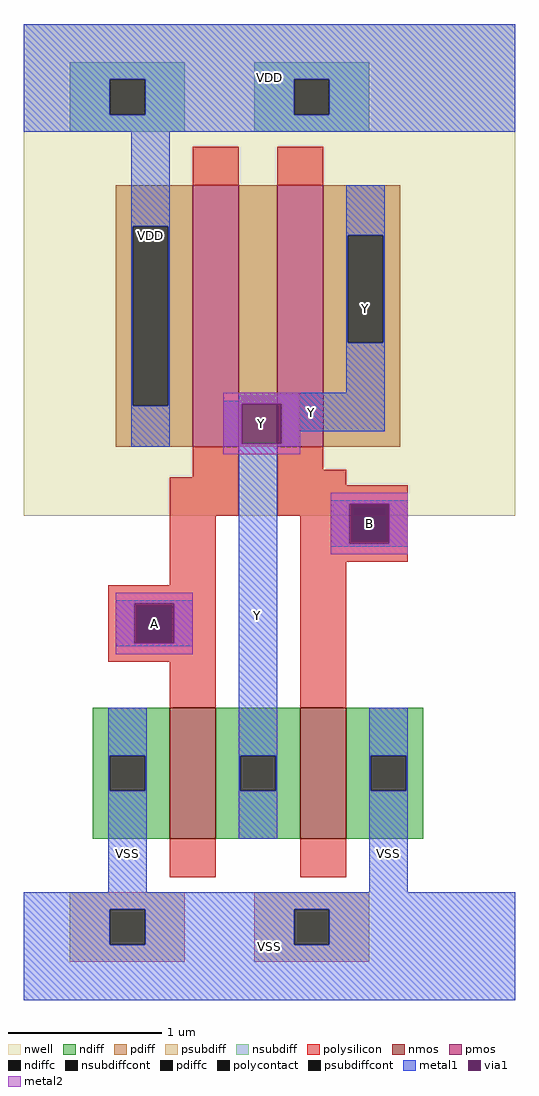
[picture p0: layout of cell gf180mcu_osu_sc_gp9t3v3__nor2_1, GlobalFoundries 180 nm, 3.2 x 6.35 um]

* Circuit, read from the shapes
.subckt gf180mcu_osu_sc_gp9t3v3__nor2_1 A B Y VDD VSS
XM1 Y A VSS VSS nfet_03v3 w=0.85u l=0.3u
XM2 VSS B Y VSS nfet_03v3 w=0.85u l=0.3u
XM3 n1 A VDD VDD pfet_03v3 w=1.7u l=0.3u
XM4 Y B n1 VDD pfet_03v3 w=1.7u l=0.3u
.ends

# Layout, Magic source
magic
tech gf180mcuA
magscale 1 10
<< nwell >>
rect 0 630 640 1270
<< nmos >>
rect 190 210 250 380
rect 360 210 420 380
<< pmos >>
rect 220 720 280 1060
rect 330 720 390 1060
<< ndiff >>
rect 90 318 190 380
rect 90 272 112 318
rect 158 272 190 318
rect 90 210 190 272
rect 250 318 360 380
rect 250 272 282 318
rect 328 272 360 318
rect 250 210 360 272
rect 420 318 520 380
rect 420 272 452 318
rect 498 272 520 318
rect 420 210 520 272
<< pdiff >>
rect 120 1007 220 1060
rect 120 773 142 1007
rect 188 773 220 1007
rect 120 720 220 773
rect 280 720 330 1060
rect 390 995 490 1060
rect 390 855 422 995
rect 468 855 490 995
rect 390 720 490 855
<< ndiffc >>
rect 112 272 158 318
rect 282 272 328 318
rect 452 272 498 318
<< pdiffc >>
rect 142 773 188 1007
rect 422 855 468 995
<< psubdiff >>
rect 60 118 210 140
rect 60 72 112 118
rect 158 72 210 118
rect 60 50 210 72
rect 300 118 450 140
rect 300 72 352 118
rect 398 72 450 118
rect 300 50 450 72
<< nsubdiff >>
rect 60 1198 210 1220
rect 60 1152 112 1198
rect 158 1152 210 1198
rect 60 1130 210 1152
rect 300 1198 450 1220
rect 300 1152 352 1198
rect 398 1152 450 1198
rect 300 1130 450 1152
<< psubdiffcont >>
rect 112 72 158 118
rect 352 72 398 118
<< nsubdiffcont >>
rect 112 1152 158 1198
rect 352 1152 398 1198
<< polysilicon >>
rect 220 1060 280 1110
rect 330 1060 390 1110
rect 220 680 280 720
rect 190 630 280 680
rect 330 690 390 720
rect 330 670 420 690
rect 330 643 500 670
rect 330 630 427 643
rect 190 540 250 630
rect 110 513 250 540
rect 110 467 147 513
rect 193 467 250 513
rect 110 440 250 467
rect 190 380 250 440
rect 360 597 427 630
rect 473 597 500 643
rect 360 570 500 597
rect 360 380 420 570
rect 190 160 250 210
rect 360 160 420 210
<< polycontact >>
rect 147 467 193 513
rect 427 597 473 643
<< metal1 >>
rect 0 1198 640 1270
rect 0 1152 112 1198
rect 158 1152 352 1198
rect 398 1152 640 1198
rect 0 1130 640 1152
rect 140 1007 190 1130
rect 140 773 142 1007
rect 188 773 190 1007
rect 420 995 470 1060
rect 420 855 422 995
rect 468 855 470 995
rect 420 790 470 855
rect 280 780 470 790
rect 140 720 190 773
rect 260 776 470 780
rect 260 724 284 776
rect 336 740 470 776
rect 336 724 360 740
rect 260 720 360 724
rect 120 516 220 520
rect 120 464 144 516
rect 196 464 220 516
rect 120 460 220 464
rect 110 318 160 380
rect 110 272 112 318
rect 158 272 160 318
rect 110 140 160 272
rect 280 318 330 720
rect 400 646 500 650
rect 400 594 424 646
rect 476 594 500 646
rect 400 590 500 594
rect 280 272 282 318
rect 328 272 330 318
rect 280 210 330 272
rect 450 318 500 380
rect 450 272 452 318
rect 498 272 500 318
rect 450 140 500 272
rect 0 118 640 140
rect 0 72 112 118
rect 158 72 352 118
rect 398 72 640 118
rect 0 0 640 72
<< via1 >>
rect 284 724 336 776
rect 144 513 196 516
rect 144 467 147 513
rect 147 467 193 513
rect 193 467 196 513
rect 144 464 196 467
rect 424 643 476 646
rect 424 597 427 643
rect 427 597 473 643
rect 473 597 476 643
rect 424 594 476 597
<< metal2 >>
rect 260 776 360 790
rect 260 724 284 776
rect 336 724 360 776
rect 260 710 360 724
rect 400 646 500 660
rect 400 594 424 646
rect 476 594 500 646
rect 400 580 500 594
rect 120 516 220 530
rect 120 464 144 516
rect 196 464 220 516
rect 120 450 220 464
<< labels >>
rlabel via1 s 144 464 196 516 4 A
port 1 nsew signal input
rlabel via1 s 424 594 476 646 4 B
port 2 nsew signal input
rlabel via1 s 284 724 336 776 4 Y
port 3 nsew signal output
rlabel metal1 s 140 720 190 1270 4 VDD
port 4 nsew power bidirectional abutment
rlabel metal1 s 110 0 160 380 4 VSS
port 5 nsew ground bidirectional abutment
rlabel metal1 s 0 1130 640 1270 1 VDD
port 4 nsew power bidirectional abutment
rlabel metal1 s 450 0 500 380 1 VSS
port 5 nsew ground bidirectional abutment
rlabel metal1 s 0 0 640 140 1 VSS
port 5 nsew ground bidirectional abutment
rlabel metal2 s 120 450 220 530 1 A
port 1 nsew signal input
rlabel metal1 s 120 460 220 520 1 A
port 1 nsew signal input
rlabel metal2 s 400 580 500 660 1 B
port 2 nsew signal input
rlabel metal1 s 400 590 500 650 1 B
port 2 nsew signal input
rlabel metal2 s 260 710 360 790 1 Y
port 3 nsew signal output
rlabel metal1 s 280 210 330 790 1 Y
port 3 nsew signal output
rlabel metal1 s 260 720 360 780 1 Y
port 3 nsew signal output
rlabel metal1 s 280 740 470 790 1 Y
port 3 nsew signal output
rlabel metal1 s 420 740 470 1060 1 Y
port 3 nsew signal output
<< properties >>
string FIXED_BBOX 0 0 640 1270
string GDS_END 336798
string GDS_FILE $PDKPATH/libs.ref/gf180mcu_osu_sc_gp9t3v3/gds/gf180mcu_osu_sc_gp9t3v3.gds
string GDS_START 332824
string LEFclass CORE
string LEFsite gf180mcu_osu_sc_gp9t3v3
string LEFsymmetry X Y
<< end >>
